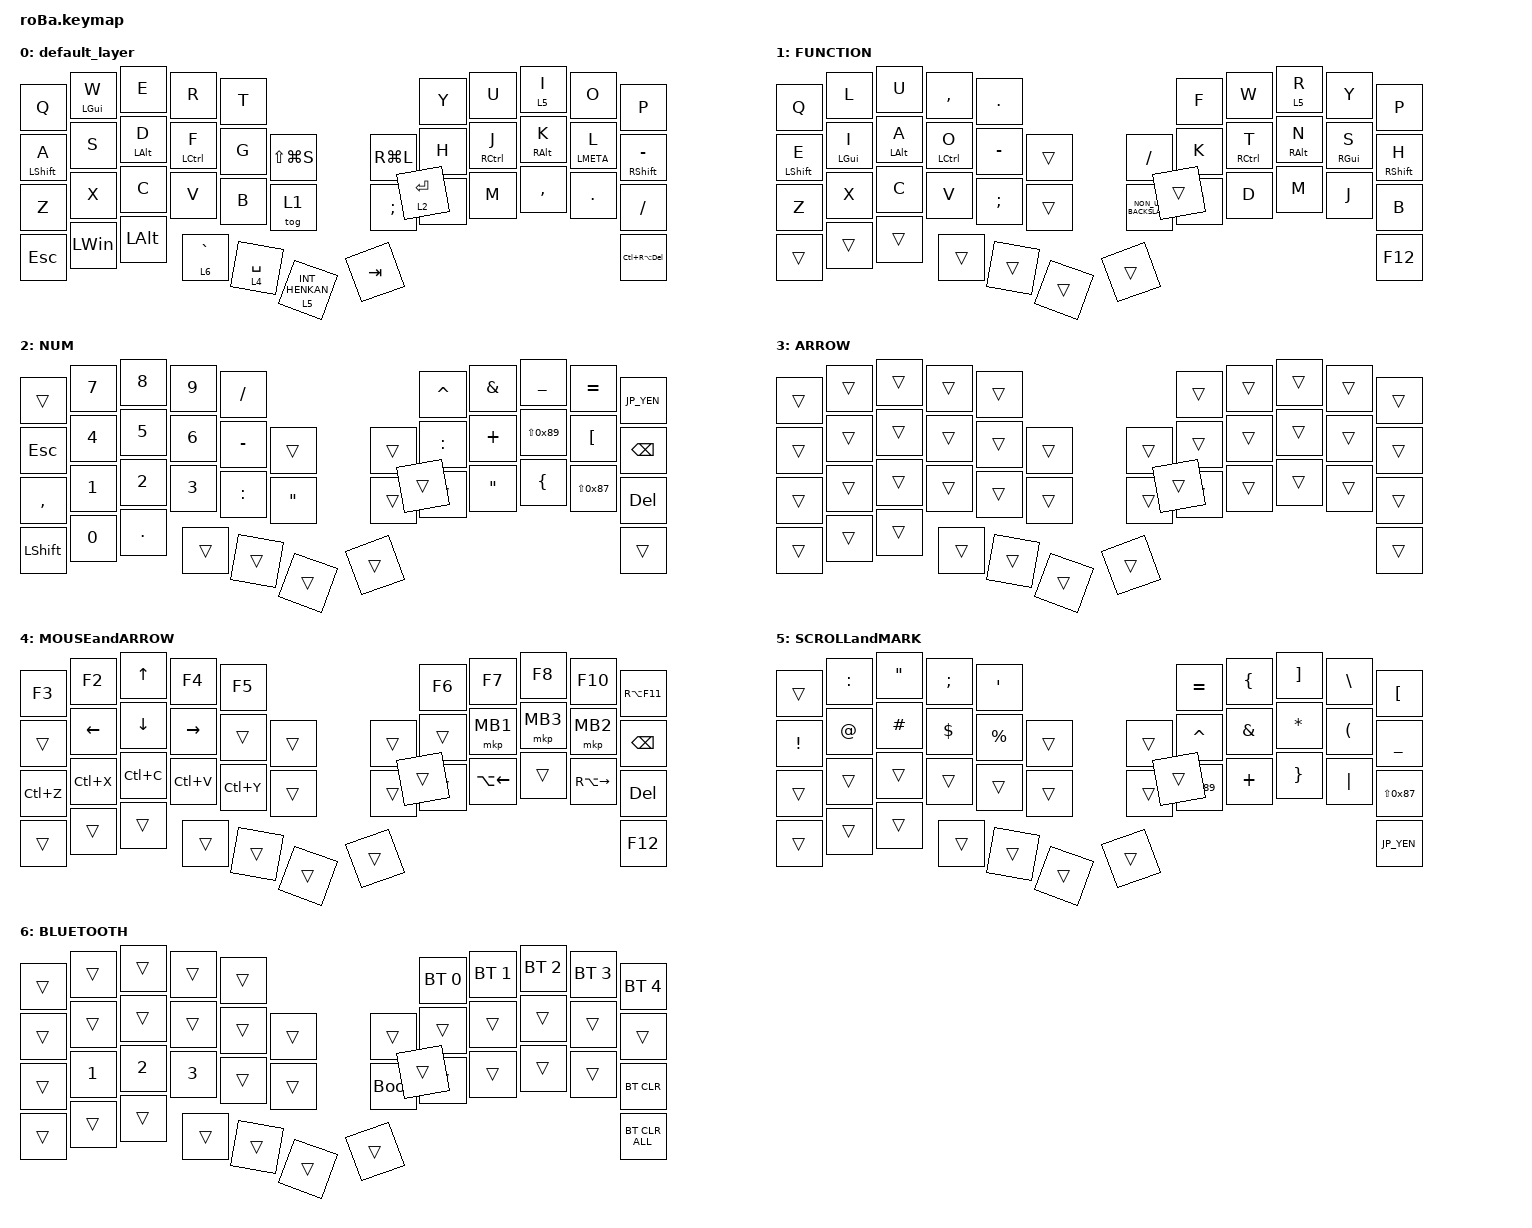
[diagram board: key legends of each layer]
// スクロール量を変更（pointing.h より前に定義しないと再定義になる）

#define ZMK_POINTING_DEFAULT_SCRL_VAL 100

#include <zephyr/dt-bindings/input/input-event-codes.h>
#include <behaviors.dtsi>
#include <dt-bindings/zmk/bt.h>
#include <dt-bindings/zmk/keys.h>
#include <dt-bindings/zmk/pointing.h>

// OS設定を日本語キーボードのまま使用するための変換定義

#define JP_DQUOTE      AT               // "
#define JP_AMPERSAND   CARET            // &
#define JP_QUOTE       AMPERSAND        // '
#define JP_EQUAL       UNDER            // =
#define JP_CARET       EQUAL            // ^
#define JP_YEN         0x89             // ¥
#define JP_PLUS        COLON            // +
#define JP_TILDE       PLUS             // ~
#define JP_PIPE        LS(0x89)         // |
#define JP_AT          LEFT_BRACKET     // @
#define JP_COLON       SINGLE_QUOTE     // :
#define JP_ASTERISK    DOUBLE_QUOTES    // *
#define JP_BACKQUOTE   LEFT_BRACE       // `
#define JP_UNDERSCORE  LS(0x87)         // _
#define JP_LBRACKET    RIGHT_BRACKET    // [
#define JP_RBRACKET    BACKSLASH        // ]
#define JP_LPAREN      ASTERISK         // (
#define JP_RPAREN      LEFT_PARENTHESIS // )
#define JP_LBRACE      RIGHT_BRACE      // {
#define JP_RBRACE      PIPE             // }
#define JP_KANA        LANGUAGE_1       // かな
#define JP_EISU        LANGUAGE_2       // 英数
#define JP_HANZEN      GRAVE            // 半角/全角

&mt {
    flavor = "balanced";
    quick-tap-ms = <0>;
};

&msc {
    acceleration-exponent = <0>;
    time-to-max-speed-ms = <300>;
    delay-ms = <0>;
};

/ {
    combos {
        compatible = "zmk,combos";

        tab {
            bindings = <&kp TAB>;
            key-positions = <11 12>;
        };

        shift_tab {
            bindings = <&kp LS(TAB)>;
            key-positions = <12 13>;
        };

        left_click {
            bindings = <&mkp MB1>;
            key-positions = <18 19>;
        };

        right_click {
            bindings = <&mkp MB2>;
            key-positions = <19 20>;
        };

        Password {
            bindings = <&Password>;
            key-positions = <36 35>;
        };

        plus {
            bindings = <&kp COLON>;
            key-positions = <23 24>;
        };

        asterisk {
            bindings = <&kp DOUBLE_QUOTES>;
            key-positions = <24 25>;
        };

        browserBack {
            bindings = <&kp LA(LEFT)>;
            key-positions = <30 31>;
        };

        browserForward {
            bindings = <&kp RA(RIGHT)>;
            key-positions = <31 32>;
        };
    };

    macros {
        to_layer_0: to_layer_0 {
            compatible = "zmk,behavior-macro-one-param";
            #binding-cells = <1>;
            bindings = <&to 0 &macro_param_1to1 &kp MACRO_PLACEHOLDER>;
            label = "TO_LAYER_0";
        };

        Password: Password {
            compatible = "zmk,behavior-macro";
            #binding-cells = <0>;
            bindings = <&kp LS(Z) &kp A &kp Q &kp N1 &kp N2 &kp W &kp S &kp X &kp C &kp D>;
            label = "PASSWORD";
        };

        Paren: new_macro {
            compatible = "zmk,behavior-macro";
            #binding-cells = <0>;
            bindings = <&kp ASTERISK &kp LEFT_PARENTHESIS &kp LEFT_ARROW>;
            label = "NEW_MACRO";
        };

        Bracket: bracket {
            compatible = "zmk,behavior-macro";
            #binding-cells = <0>;
            bindings = <&kp RIGHT_BRACKET &kp BACKSLASH &kp LEFT_ARROW>;
            label = "BRACKET";
        };

        Brace: Brace {
            compatible = "zmk,behavior-macro";
            #binding-cells = <0>;
            bindings = <&kp RIGHT_BRACE &kp PIPE &kp LEFT_ARROW>;
            label = "BRACE";
        };
    };

    behaviors {
        lt_to_layer_0: lt_to_layer_0 {
            compatible = "zmk,behavior-hold-tap";
            bindings = <&mo>, <&to_layer_0>;

            #binding-cells = <2>;
            tapping-term-ms = <200>;
        };
    };

    keymap {
        compatible = "zmk,keymap";

        default_layer {
            bindings = <
&kp Q         &mt LEFT_GUI W  &kp E           &kp R                   &kp T                                                                   &kp Y        &kp U                &lt 5 I          &kp O        &kp P
&mt LSHIFT A  &kp S           &mt LEFT_ALT D  &mt LEFT_CONTROL F      &kp G                   &kp LS(LG(S))                    &kp RG(L)      &kp H        &mt RIGHT_CONTROL J  &mt RIGHT_ALT K  &mt LMETA L  &mt RSHIFT MINUS
&kp Z         &kp X           &kp C           &kp V                   &kp B                   &tog 1                           &kp SEMICOLON  &kp N        &kp M                &kp COMMA        &kp DOT      &kp SLASH
&kp ESCAPE    &kp LEFT_WIN    &kp LEFT_ALT    &lt_to_layer_0 6 GRAVE  &lt_to_layer_0 4 SPACE  &lt_to_layer_0 5 INT_HENKAN      &kp TAB        &lt 2 ENTER                                                     &kp LC(RA(DEL))
            >;
        };

        FUNCTION {
            bindings = <
&kp Q             &kp L           &kp U           &kp COMMA           &kp PERIOD                                       &kp F   &kp W                &lt 5 R          &kp Y            &kp P
&mt LEFT_SHIFT E  &mt LEFT_GUI I  &mt LEFT_ALT A  &mt LEFT_CONTROL O  &kp MINUS      &trans      &kp SLASH             &kp K   &mt RIGHT_CONTROL T  &mt RIGHT_ALT N  &mt RIGHT_GUI S  &mt RIGHT_SHIFT H
&kp Z             &kp X           &kp C           &kp V               &kp SEMICOLON  &trans      &kp NON_US_BACKSLASH  &kp G   &kp D                &kp M            &kp J            &kp B
&trans            &trans          &trans          &trans              &trans         &trans      &trans                &trans                                                         &kp F12
            >;
        };

        NUM {
            bindings = <
&trans          &kp NUMBER_7  &kp NUMBER_8  &kp NUMBER_9  &kp SLASH                                 &kp JP_AMPERSAND  &kp JP_QUOTE     &kp JP_EQUAL      &kp JP_CARET       &kp JP_YEN
&kp ESCAPE      &kp NUMBER_4  &kp NUMBER_5  &kp NUMBER_6  &kp MINUS    &trans               &trans  &kp JP_PLUS       &kp JP_TILDE     &kp JP_PIPE       &kp JP_AT          &kp BACKSPACE
&kp COMMA       &kp NUMBER_1  &kp NUMBER_2  &kp NUMBER_3  &kp JP_PLUS  &kp JP_ASTERISK      &trans  &trans            &kp JP_ASTERISK  &kp JP_BACKQUOTE  &kp JP_UNDERSCORE  &kp DELETE
&kp LEFT_SHIFT  &kp NUMBER_0  &kp PERIOD    &trans        &trans       &trans               &trans  &trans                                                                  &trans
            >;
        };

        ARROW {
            bindings = <
&trans  &trans  &trans  &trans  &trans                      &trans  &trans  &trans  &trans  &trans
&trans  &trans  &trans  &trans  &trans  &trans      &trans  &trans  &trans  &trans  &trans  &trans
&trans  &trans  &trans  &trans  &trans  &trans      &trans  &trans  &trans  &trans  &trans  &trans
&trans  &trans  &trans  &trans  &trans  &trans      &trans  &trans                          &trans
            >;
        };

        MOUSEandARROW {
            bindings = <
&kp F3     &kp F2          &kp UP_ARROW    &kp F4           &kp F5                         &kp F6  &kp F7              &kp F8    &kp F10              &kp RA(F11)
&trans     &kp LEFT_ARROW  &kp DOWN_ARROW  &kp RIGHT_ARROW  &trans     &trans      &trans  &trans  &mkp MB1            &mkp MB3  &mkp MB2             &kp BACKSPACE
&kp LC(Z)  &kp LC(X)       &kp LC(C)       &kp LC(V)        &kp LC(Y)  &trans      &trans  &trans  &kp LA(LEFT_ARROW)  &trans    &kp RA(RIGHT_ARROW)  &kp DELETE
&trans     &trans          &trans          &trans           &trans     &trans      &trans  &trans                                                     &kp F12
            >;
        };

        SCROLLandMARK {
            bindings = <
&trans           &kp JP_PLUS    &kp JP_ASTERISK  &kp SEMICOLON  &kp JP_COLON                      &kp JP_CARET      &kp JP_BACKQUOTE  &kp RIGHT_BRACKET  &kp BACKSLASH         &kp JP_AT
&kp EXCLAMATION  &kp JP_DQUOTE  &kp HASH         &kp DOLLAR     &kp PERCENT   &trans      &trans  &kp JP_AMPERSAND  &kp JP_QUOTE      &kp ASTRK          &kp LEFT_PARENTHESIS  &kp JP_EQUAL
&trans           &trans         &trans           &trans         &trans        &trans      &trans  &kp JP_PIPE       &kp JP_TILDE      &kp RIGHT_BRACE    &kp PIPE              &kp JP_UNDERSCORE
&trans           &trans         &trans           &trans         &trans        &trans      &trans  &trans                                                                       &kp JP_YEN
            >;
        };

        BLUETOOTH {
            bindings = <
&trans  &trans        &trans        &trans        &trans                           &bt BT_SEL 0  &bt BT_SEL 1  &bt BT_SEL 2  &bt BT_SEL 3  &bt BT_SEL 4
&trans  &trans        &trans        &trans        &trans  &trans      &trans       &trans        &trans        &trans        &trans        &trans
&trans  &kp NUMBER_1  &kp NUMBER_2  &kp NUMBER_3  &trans  &trans      &bootloader  &trans        &trans        &trans        &trans        &bt BT_CLR
&trans  &trans        &trans        &trans        &trans  &trans      &trans       &trans                                                  &bt BT_CLR_ALL
            >;
        };
    };
};
